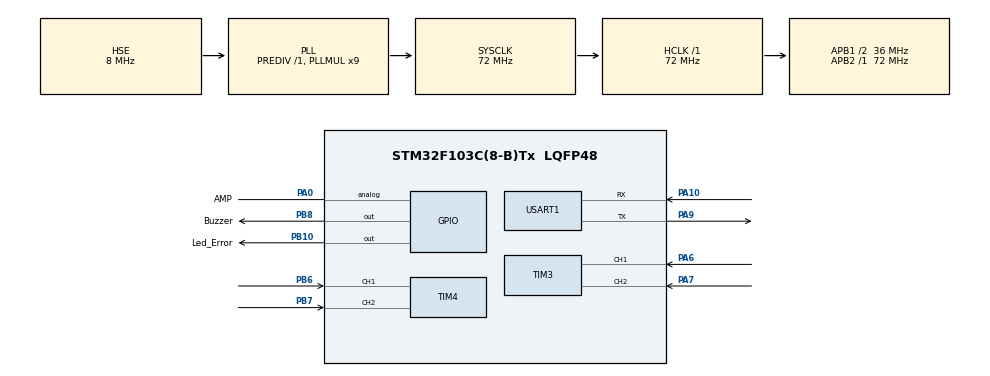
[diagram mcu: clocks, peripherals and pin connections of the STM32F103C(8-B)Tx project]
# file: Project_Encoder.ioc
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Mcu.Family=STM32F1
Mcu.Name=STM32F103C(8-B)Tx
Mcu.Package=LQFP48
NVIC.PriorityGroup=NVIC_PRIORITYGROUP_4
NVIC.TIM4_IRQn=true\:1\:0\:true\:false\:true\:true\:true\:true
NVIC.USART1_IRQn=true\:1\:0\:true\:false\:true\:true\:true\:true
PA0-WKUP.GPIO_Label=AMP
PA0-WKUP.Signal=GPIO_Analog
PA10.Mode=Asynchronous
PA10.Signal=USART1_RX
PA13.Mode=Serial_Wire
PA13.Signal=SYS_JTMS-SWDIO
PA14.Mode=Serial_Wire
PA14.Signal=SYS_JTCK-SWCLK
PA6.Signal=S_TIM3_CH1
PA7.Signal=S_TIM3_CH2
PA9.Mode=Asynchronous
PA9.Signal=USART1_TX
PB10.GPIO_Label=Led_Error
PB10.Signal=GPIO_Output
PB6.Signal=S_TIM4_CH1
PB7.Signal=S_TIM4_CH2
PB8.GPIO_Label=Buzzer
PB8.Signal=GPIO_Output
PD0-OSC_IN.Mode=HSE-External-Oscillator
PD0-OSC_IN.Signal=RCC_OSC_IN
PD1-OSC_OUT.Mode=HSE-External-Oscillator
PD1-OSC_OUT.Signal=RCC_OSC_OUT
ProjectManager.HeapSize=0x200
ProjectManager.StackSize=0x400
ProjectManager.TargetToolchain=STM32CubeIDE
RCC.AHBFreq_Value=72000000
RCC.APB1CLKDivider=RCC_HCLK_DIV2
RCC.APB1Freq_Value=36000000
RCC.APB1TimFreq_Value=72000000
RCC.APB2Freq_Value=72000000
RCC.APB2TimFreq_Value=72000000
RCC.HCLKFreq_Value=72000000
RCC.PLLMUL=RCC_PLL_MUL9
RCC.PLLSourceVirtual=RCC_PLLSOURCE_HSE
RCC.SYSCLKFreq_VALUE=72000000
RCC.SYSCLKSource=RCC_SYSCLKSOURCE_PLLCLK
RCC.USBFreq_Value=48000000
RCC.USBPrescaler=RCC_USBCLKSOURCE_PLL_DIV1_5
SH.S_TIM3_CH1.0=TIM3_CH1,Encoder_Interface
SH.S_TIM3_CH2.0=TIM3_CH2,Encoder_Interface
SH.S_TIM4_CH1.0=TIM4_CH1,Encoder_Interface
SH.S_TIM4_CH2.0=TIM4_CH2,Encoder_Interface
TIM4.EncoderMode=TIM_ENCODERMODE_TI12
USART1.VirtualMode=VM_ASYNC
board=custom

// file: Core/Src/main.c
/* USER CODE BEGIN Header */
/**
  ******************************************************************************
  * @file           : main.c
  * @brief          : Main program body
  ******************************************************************************
  * @attention
  *
  * Copyright (c) 2024 STMicroelectronics.
  * All rights reserved.
  *
  * This software is licensed under terms that can be found in the LICENSE file
  * in the root directory of this software component.
  * If no LICENSE file comes with this software, it is provided AS-IS.
  *
  ******************************************************************************
  */
/* USER CODE END Header */
#include "main.h"

/* USER CODE BEGIN Includes */
#include "stdio.h"
#include "string.h"
#include "Encoder.h"
/* USER CODE END Includes */

/* USER CODE BEGIN PM */
char Data[100] = "Xin chao\r\n";
int cnt = 0;
int counterValue = 0;
int passCounterValue = 0;
float angleValue = 0;
char printMessage[200] = {'\0'};
char printMessage1[200] = {'\0'};

float update_interval = 0.1f;  // Th�?i gian giữa các lần cập nhật (giây)
uint32_t PPR = 500;

#define ENCODER_PPR 500 // Pulses per revolution
#define TIME_INTERVAL_MS 100
#define KP 1.0
#define KI 0.5
#define KD 0.1

// PID variables
float setpoint = 0.0;
float integral = 0.0;
float previous_error = 0.0;
uint32_t encoder_position = 0;
uint32_t previous_position = 0;
uint32_t current_time = 0;
uint32_t previous_time = 0;
float velocity = 0.0;

//uint32_t encoder_position = 0;
//uint32_t previous_position = 0;
//uint32_t current_time = 0;
//uint32_t previous_time = 0;
float speed_rpm = 0.0;
char uart_buffer[50];
char uart_buffer1[50];
//int32_t encoder_count = 0;
//int32_t last_encoder_count = 0;
//int32_t encoder_velocity = 0;

uint16_t encoder_velocity;
uint16_t encoder_postion;
uint16_t timer_counter;
/* USER CODE END PM */

TIM_HandleTypeDef htim3;
TIM_HandleTypeDef htim4;

UART_HandleTypeDef huart1;

/* USER CODE BEGIN PV */
encoder_inst enc_instance;
encoder_inst my_encoder = {0};

int32_t encoderPosition = 0;
int32_t lastEncoderPosition = 0;
float encoderVelocity = 0.0;
uint32_t lastTick = 0;

/* Define your PPR (Pulses Per Revolution) */
#define ENCODER_PPR 1000
/* Update frequency in Hz */
#define UPDATE_FREQUENCY 10
/* USER CODE END PV */

void SystemClock_Config(void);
static void MX_GPIO_Init(void);
static void MX_USART1_UART_Init(void);
static void MX_TIM3_Init(void);
static void MX_TIM4_Init(void);

/* USER CODE BEGIN 0 */
/*Doc xung Encoder*/
//int _Soxung;
//void HAL_GPIO_EXTI_Callback(uint16_t GPIO_Pin)
//{
//  UNUSED(GPIO_Pin);
//  if(GPIO_Pin == ENC_EXT_Pin)
//  {
//	  if(HAL_GPIO_ReadPin(ENC_Input_GPIO_Port, ENC_Input_Pin) == 0)
//	  {
//		  _Soxung++;
//	  }
//	  else{
//		  _Soxung--;
//	  }
//  }
//}

void calculateEncoderVelocity(void)
{
  encoderPosition = __HAL_TIM_GET_COUNTER(&htim4);
  int32_t deltaPosition = encoderPosition - lastEncoderPosition;

  /* Calculate velocity in revolutions per second (RPS) */
  encoderVelocity = (float)deltaPosition / ENCODER_PPR * UPDATE_FREQUENCY;

  lastEncoderPosition = encoderPosition;

  // Print or process the velocity
  printf("Velocity: %.2f RPS\n", encoderVelocity);
}
/* USER CODE END 0 */

int main(void)
{

  /* MCU Configuration--------------------------------------------------------*/

  /* Reset of all peripherals, Initializes the Flash interface and the Systick. */
  HAL_Init();

  /* Configure the system clock */
  SystemClock_Config();

  /* Initialize all configured peripherals */
  MX_GPIO_Init();
  MX_USART1_UART_Init();
  MX_TIM3_Init();
  MX_TIM4_Init();
  /* USER CODE BEGIN 2 */
  HAL_TIM_Encoder_Start(&htim4, TIM_CHANNEL_ALL);
//  previous_time = HAL_GetTick();
//  previous_position = __HAL_TIM_GET_COUNTER(&htim4);
  /* USER CODE END 2 */

  /* Infinite loop */
  while (1)
  {

    /* USER CODE BEGIN 3 */

	  uint32_t currentTick = HAL_GetTick();

	      /* Calculate velocity every 100ms (10Hz) */
	      if (currentTick - lastTick >= 100)
	      {
	        calculateEncoderVelocity();
	        lastTick = currentTick;
	      }
  }
  /* USER CODE END 3 */
}

void SystemClock_Config(void)
{
  RCC_OscInitTypeDef RCC_OscInitStruct = {0};
  RCC_ClkInitTypeDef RCC_ClkInitStruct = {0};

  /** Initializes the RCC Oscillators according to the specified parameters
  * in the RCC_OscInitTypeDef structure.
  */
  RCC_OscInitStruct.OscillatorType = RCC_OSCILLATORTYPE_HSE;
  RCC_OscInitStruct.HSEState = RCC_HSE_ON;
  RCC_OscInitStruct.HSEPredivValue = RCC_HSE_PREDIV_DIV1;
  RCC_OscInitStruct.HSIState = RCC_HSI_ON;
  RCC_OscInitStruct.PLL.PLLState = RCC_PLL_ON;
  RCC_OscInitStruct.PLL.PLLSource = RCC_PLLSOURCE_HSE;
  RCC_OscInitStruct.PLL.PLLMUL = RCC_PLL_MUL9;
  if (HAL_RCC_OscConfig(&RCC_OscInitStruct) != HAL_OK)
  {
    Error_Handler();
  }

  /** Initializes the CPU, AHB and APB buses clocks
  */
  RCC_ClkInitStruct.ClockType = RCC_CLOCKTYPE_HCLK|RCC_CLOCKTYPE_SYSCLK
                              |RCC_CLOCKTYPE_PCLK1|RCC_CLOCKTYPE_PCLK2;
  RCC_ClkInitStruct.SYSCLKSource = RCC_SYSCLKSOURCE_PLLCLK;
  RCC_ClkInitStruct.AHBCLKDivider = RCC_SYSCLK_DIV1;
  RCC_ClkInitStruct.APB1CLKDivider = RCC_HCLK_DIV2;
  RCC_ClkInitStruct.APB2CLKDivider = RCC_HCLK_DIV1;

  if (HAL_RCC_ClockConfig(&RCC_ClkInitStruct, FLASH_LATENCY_2) != HAL_OK)
  {
    Error_Handler();
  }
}

static void MX_TIM3_Init(void)
{

  TIM_Encoder_InitTypeDef sConfig = {0};
  TIM_MasterConfigTypeDef sMasterConfig = {0};

  htim3.Instance = TIM3;
  htim3.Init.Prescaler = 0;
  htim3.Init.CounterMode = TIM_COUNTERMODE_UP;
  htim3.Init.Period = 65535;
  htim3.Init.ClockDivision = TIM_CLOCKDIVISION_DIV1;
  htim3.Init.AutoReloadPreload = TIM_AUTORELOAD_PRELOAD_DISABLE;
  sConfig.EncoderMode = TIM_ENCODERMODE_TI1;
  sConfig.IC1Polarity = TIM_ICPOLARITY_RISING;
  sConfig.IC1Selection = TIM_ICSELECTION_DIRECTTI;
  sConfig.IC1Prescaler = TIM_ICPSC_DIV1;
  sConfig.IC1Filter = 0;
  sConfig.IC2Polarity = TIM_ICPOLARITY_RISING;
  sConfig.IC2Selection = TIM_ICSELECTION_DIRECTTI;
  sConfig.IC2Prescaler = TIM_ICPSC_DIV1;
  sConfig.IC2Filter = 0;
  if (HAL_TIM_Encoder_Init(&htim3, &sConfig) != HAL_OK)
  {
    Error_Handler();
  }
  sMasterConfig.MasterOutputTrigger = TIM_TRGO_RESET;
  sMasterConfig.MasterSlaveMode = TIM_MASTERSLAVEMODE_DISABLE;
  if (HAL_TIMEx_MasterConfigSynchronization(&htim3, &sMasterConfig) != HAL_OK)
  {
    Error_Handler();
  }

}

static void MX_TIM4_Init(void)
{

  TIM_Encoder_InitTypeDef sConfig = {0};
  TIM_MasterConfigTypeDef sMasterConfig = {0};

  htim4.Instance = TIM4;
  htim4.Init.Prescaler = 0;
  htim4.Init.CounterMode = TIM_COUNTERMODE_UP;
  htim4.Init.Period = 65535;
  htim4.Init.ClockDivision = TIM_CLOCKDIVISION_DIV1;
  htim4.Init.AutoReloadPreload = TIM_AUTORELOAD_PRELOAD_DISABLE;
  sConfig.EncoderMode = TIM_ENCODERMODE_TI12;
  sConfig.IC1Polarity = TIM_ICPOLARITY_RISING;
  sConfig.IC1Selection = TIM_ICSELECTION_DIRECTTI;
  sConfig.IC1Prescaler = TIM_ICPSC_DIV1;
  sConfig.IC1Filter = 0;
  sConfig.IC2Polarity = TIM_ICPOLARITY_RISING;
  sConfig.IC2Selection = TIM_ICSELECTION_DIRECTTI;
  sConfig.IC2Prescaler = TIM_ICPSC_DIV1;
  sConfig.IC2Filter = 0;
  if (HAL_TIM_Encoder_Init(&htim4, &sConfig) != HAL_OK)
  {
    Error_Handler();
  }
  sMasterConfig.MasterOutputTrigger = TIM_TRGO_RESET;
  sMasterConfig.MasterSlaveMode = TIM_MASTERSLAVEMODE_DISABLE;
  if (HAL_TIMEx_MasterConfigSynchronization(&htim4, &sMasterConfig) != HAL_OK)
  {
    Error_Handler();
  }

}

static void MX_USART1_UART_Init(void)
{

  huart1.Instance = USART1;
  huart1.Init.BaudRate = 115200;
  huart1.Init.WordLength = UART_WORDLENGTH_8B;
  huart1.Init.StopBits = UART_STOPBITS_1;
  huart1.Init.Parity = UART_PARITY_NONE;
  huart1.Init.Mode = UART_MODE_TX_RX;
  huart1.Init.HwFlowCtl = UART_HWCONTROL_NONE;
  huart1.Init.OverSampling = UART_OVERSAMPLING_16;
  if (HAL_UART_Init(&huart1) != HAL_OK)
  {
    Error_Handler();
  }

}

static void MX_GPIO_Init(void)
{
  GPIO_InitTypeDef GPIO_InitStruct = {0};

  /* GPIO Ports Clock Enable */
  __HAL_RCC_GPIOD_CLK_ENABLE();
  __HAL_RCC_GPIOA_CLK_ENABLE();
  __HAL_RCC_GPIOB_CLK_ENABLE();

  /*Configure GPIO pin Output Level */
  HAL_GPIO_WritePin(GPIOB, Led_Error_Pin|Buzzer_Pin, GPIO_PIN_RESET);

  /*Configure GPIO pin : AMP_Pin */
  GPIO_InitStruct.Pin = AMP_Pin;
  GPIO_InitStruct.Mode = GPIO_MODE_ANALOG;
  HAL_GPIO_Init(AMP_GPIO_Port, &GPIO_InitStruct);

  /*Configure GPIO pins : Led_Error_Pin Buzzer_Pin */
  GPIO_InitStruct.Pin = Led_Error_Pin|Buzzer_Pin;
  GPIO_InitStruct.Mode = GPIO_MODE_OUTPUT_PP;
  GPIO_InitStruct.Pull = GPIO_NOPULL;
  GPIO_InitStruct.Speed = GPIO_SPEED_FREQ_LOW;
  HAL_GPIO_Init(GPIOB, &GPIO_InitStruct);

}

void Error_Handler(void)
{
  __disable_irq();
  while (1)
  {
  }
}
